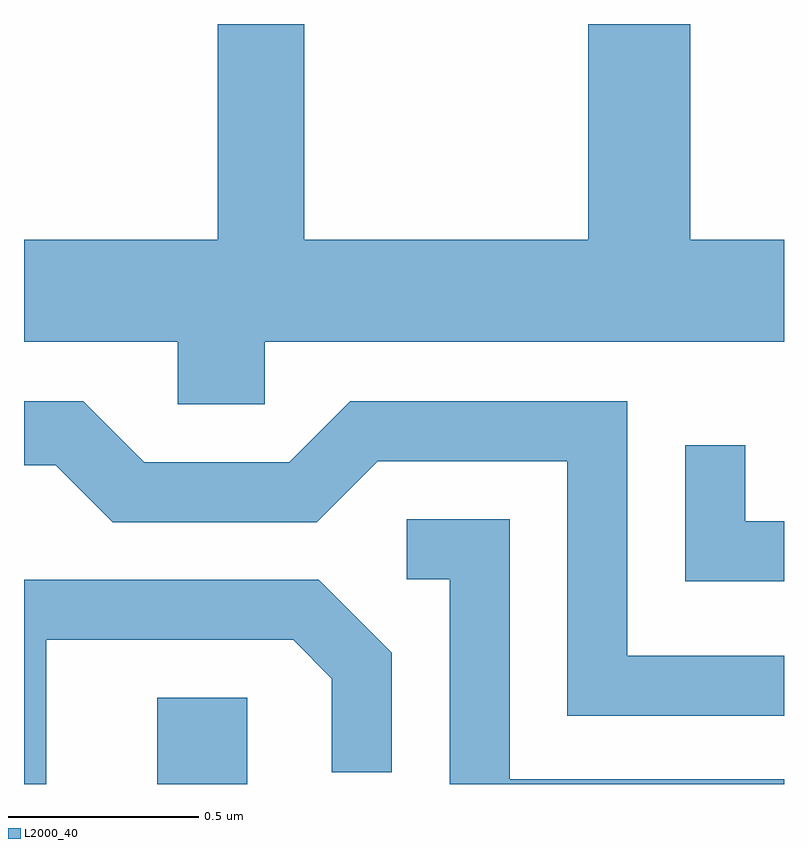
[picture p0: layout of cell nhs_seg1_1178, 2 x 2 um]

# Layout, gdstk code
import gdstk
lib = gdstk.Library(unit=1e-6, precision=1e-09)
def R(c, l, rs):  # rectangles x0, y0, x1, y1
    for r in rs: c.add(gdstk.rectangle(r[:2], r[2:], *l))
def P(c, l, *ps):  # polygons
    for p in ps: c.add(gdstk.Polygon(p, *l))
L2000_40 = (2000, 40)

nhs_seg1_1178 = lib.new_cell('nhs_seg1_1178')
R(nhs_seg1_1178, L2000_40, [(193.961,931.712,194.199,931.939)])
P(nhs_seg1_1178, L2000_40, [(194.244,932.876),(195.611,932.876),(195.611,933.144),(195.364,933.144),(195.364,933.712),(195.096,933.712),(195.096,933.144),(194.349,933.144),(194.349,933.712),(194.121,933.712),(194.121,933.144),(193.611,933.144),(193.611,932.876),(194.016,932.876),(194.016,932.711),(194.244,932.711)],
  [(195.611,932.049),(195.199,932.049),(195.199,932.719),(194.469,932.719),(194.309,932.559),(193.927,932.559),(193.767,932.719),(193.611,932.719),(193.611,932.551),(193.694,932.551),(193.844,932.401),(194.382,932.401),(194.542,932.561),(195.041,932.561),(195.041,931.891),(195.611,931.891)],
  [(195.611,932.404),(195.509,932.404),(195.509,932.603),(195.351,932.603),(195.351,932.246),(195.611,932.246)],
  [(195.611,931.724),(194.889,931.724),(194.889,932.409),(194.618,932.409),(194.618,932.251),(194.731,932.251),(194.731,931.712),(195.611,931.712)],
  [(193.669,932.091),(194.319,932.091),(194.421,931.989),(194.421,931.743),(194.579,931.743),(194.579,932.057),(194.387,932.249),(193.611,932.249),(193.611,931.712),(193.669,931.712)])

lib.write_gds('nhs_seg1_1178.gds')
